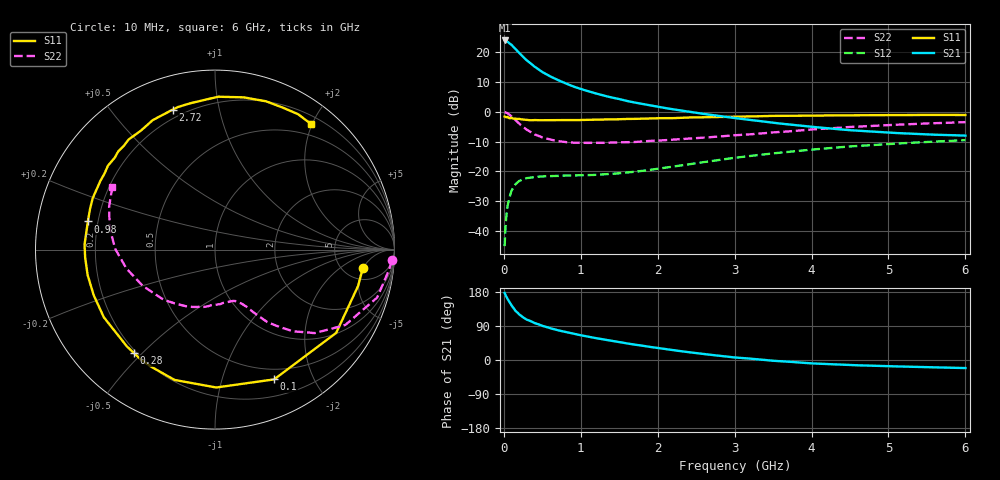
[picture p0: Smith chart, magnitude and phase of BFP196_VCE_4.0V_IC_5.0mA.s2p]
! Infineon Technologies  Discrete & RF Semiconductors
! BFP196
! VCE = 4.0 V,  IC = 5.0mA
! Common Emitter S-Parameters:  Jan 2016
# GHz  S  MA  R  50
!  f  S11  S21  S12  S22
! GHz  MAG  ANG  MAG  ANG  MAG  ANG  MAG  ANG
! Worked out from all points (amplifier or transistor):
!   210 points, 10 MHz to 6 GHz, reference 50 ohm
!   highest |S21| = 23.9 dB at 10 MHz (marker M1)
!   |S21| within 3 dB of that: start of sweep to 156.7 MHz
!   unconditionally stable (mu >= 1): 1.126 GHz to 3.303 GHz
!   at 185 MHz: K = 0.19, MSG = 21.8 dB, |S12| = -23.5 dB
!   at 1.52 GHz: K = 1.18, MAG = 9.8 dB, |S12| = -20.6 dB
!   at 6 GHz: K = 1.00, MSG = 0.8 dB, |S12| = -9.5 dB
!   S11 on the Smith chart (normalised r, x): 10 MHz: 7.41, -4.95; 100 MHz: 0.38, -1.49; 280 MHz: 0.19, -0.47; 980 MHz: 0.16, +0.11; 2.72 GHz: 0.16, +0.73; 6 GHz: 0.32, +1.99
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0.01  0.83 -7.2  15.62 177.0  0.0056 86.9  0.9869 -3.5
0.02  0.8227 -14.2  15.36 171.8  0.011 81.8  0.9761 -6.7
0.05  0.8193 -34.5  14.85 160.4  0.0272 72.3  0.942 -16.5
0.1  0.7946 -65.5  13.2 143.8  0.0477 58.1  0.839 -30.0
0.15  0.7683 -89.5  11.29 129.9  0.0609 46.7  0.7251 -39.9
0.2  0.7603 -107.2  9.667 120.3  0.0692 39.5  0.6297 -46.3
0.24  0.743 -118.9  8.53 114.1  0.0729 34.8  0.5686 -49.7
0.28  0.7322 -128.1  7.626 108.9  0.076 31.7  0.5197 -52.7
0.3  0.7294 -132.3  7.217 106.3  0.0774 30.5  0.4975 -54.2
0.4  0.7251 -148.7  5.681 97.5  0.0807 25.5  0.4176 -58.1
0.5  0.722 -159.4  4.622 90.2  0.0826 22.8  0.3713 -60.6
0.6  0.7237 -168.7  3.925 84.0  0.0835 22.1  0.3421 -63.0
0.7  0.7248 -176.5  3.405 78.6  0.0841 21.4  0.3231 -65.6
0.98  0.7253 167.5  2.451 66.2  0.0862 22.8  0.3018 -72.2
1.02  0.7273 165.5  2.359 64.6  0.0863 23.3  0.3012 -73.3
1.4  0.7444 149.1  1.732 50.6  0.0907 28.4  0.3052 -84.3
2.02  0.7794 127.5  1.2 31.2  0.1116 37.4  0.3287 -104.5
2.72  0.8146 106.7  0.877 13.0  0.1506 40.0  0.3778 -128.1
3.1  0.8296 97.3  0.756 5.2  0.1753 37.8  0.4099 -140.9
4.1  0.8639 77.6  0.544 -9.7  0.2376 28.2  0.5127 -170.6
5.1  0.8777 63.0  0.44 -17.0  0.2926 15.8  0.6054 166.1
6  0.8808 52.4  0.398 -21.3  0.3338 4.1  0.67 148.6
